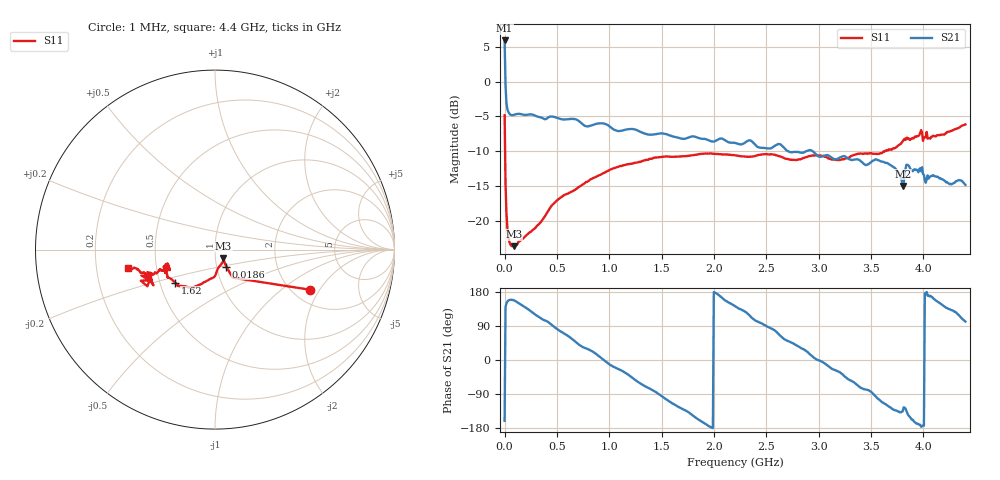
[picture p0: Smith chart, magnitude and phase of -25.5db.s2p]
# HZ S RI R 50
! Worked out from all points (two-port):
!   501 points, 1 MHz to 4.4 GHz, reference 50 ohm
!   highest |S21| = 5.90 dB at 1 MHz (marker M1); lowest = -15.0 dB at 3.802 GHz (marker M2)
!   |S21| within 3 dB of the highest: start of sweep to 5.105 MHz
!   lowest |S11| = -23.6 dB at 88.98 MHz (marker M3), VSWR 1.14, Z = 54.7 - j5.06 ohm
!   |S11| at or under -10 dB: 5.621 MHz to 3.63 GHz (3.624 GHz wide, 199 % of centre)
!   S12 and S22 are empty: the file has one direction only
!   S11 on the Smith chart (normalised r, x): 1 MHz: 2.46, -1.64; 18.6 MHz: 1.11, -0.21; 1.62 GHz: 0.60, -0.24; 4.4 GHz: 0.34, -0.09
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1000000  0.5283 -0.2234  -1.859 -0.6587  0 0  0 0
1.8596e7  0.0629 -0.0952  -0.601 0.3568  0 0  0 0
2.7394e7  0.053 -0.0709  -0.5724 0.2745  0 0  0 0
4.499e7  0.049 -0.0519  -0.5482 0.2204  0 0  0 0
8.898e7  0.0472 -0.046  -0.5337 0.22  0 0  0 0
2.73738e8  0.0371 -0.0784  -0.3206 0.4803  0 0  0 0
4.49698e8  0.00756 -0.1284  -0.0267 0.5603  0 0  0 0
7.40032e8  -0.0472 -0.175  0.4068 0.2877  0 0  0 0
9.6878e8  -0.1005 -0.2014  0.4931 -0.039  0 0  0 0
1.250316e9  -0.159 -0.2074  0.2727 -0.3609  0 0  0 0
1.470266e9  -0.2038 -0.2012  0.00637 -0.4229  0 0  0 0
1.619832e9  -0.2215 -0.1857  -0.183 -0.3577  0 0  0 0
1.910166e9  -0.2612 -0.1556  -0.3779 -0.0861  0 0  0 0
2.2005e9  -0.2705 -0.12  -0.286 0.2234  0 0  0 0
2.59641e9  -0.276 -0.1053  0.0962 0.3382  0 0  0 0
2.939532e9  -0.2796 -0.0957  0.3134 0.0518  0 0  0 0
3.370634e9  -0.2808 -0.1131  0.11 -0.2539  0 0  0 0
3.669766e9  -0.3061 -0.1124  -0.139 -0.2143  0 0  0 0
3.801736e9  -0.3454 -0.1394  -0.1269 -0.1252  0 0  0 0
3.845726e9  -0.3681 -0.1435  -0.1949 -0.1613  0 0  0 0
3.977696e9  -0.4134 -0.1734  -0.2266 -0.0144  0 0  0 0
4.4e9  -0.4821 -0.1017  -0.0361 0.1777  0 0  0 0
